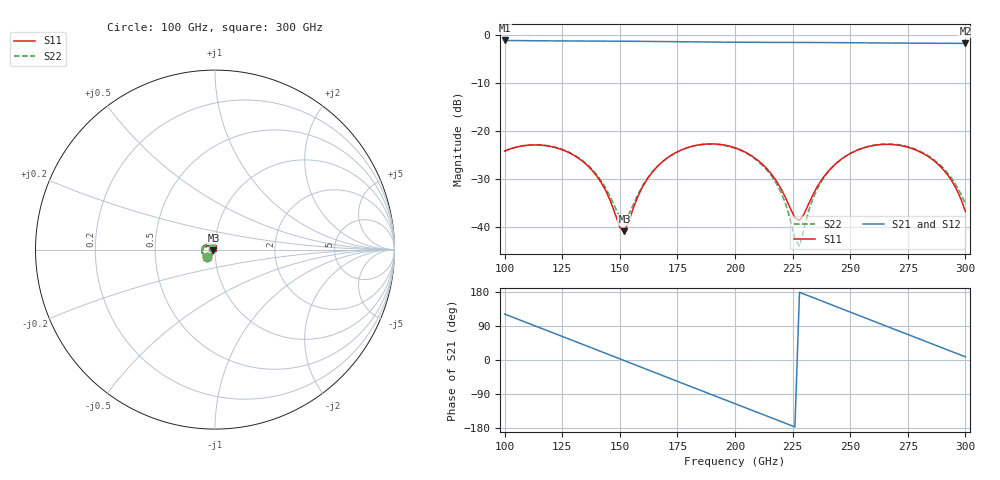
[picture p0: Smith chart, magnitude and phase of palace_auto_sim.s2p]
#  GHZ S DB R 50
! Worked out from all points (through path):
!   101 points, 100 GHz to 300 GHz, reference 50 ohm
!   highest |S21| = -1.04 dB at 100 GHz (marker M1); lowest = -1.7 dB at 300 GHz (marker M2)
!   group delay of S21, straight-line fit = 6.57 ps
!   lowest |S11| = -40.9 dB at 152 GHz (marker M3), VSWR 1.02, Z = 49.2 - j0.314 ohm
!   |S11| at or under -10 dB: start of sweep to end of sweep
!   |S22| runs from -44.0 to -22.7 dB; largest |S21 - S12| = 9.7e-14
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100  -24.15 -135.5  -1.04 121.2  -1.04 121.2  -24.15 -136.8
116  -22.92 -170.3  -1.11 83.4  -1.11 83.4  -22.88 -170.3
134  -26.35 152.8  -1.16 41.0  -1.16 41.0  -26.20 154.6
142  -30.79 141.8  -1.17 22.0  -1.17 22.0  -30.40 145.6
152  -40.94 -159.1  -1.20 -1.7  -1.20 -1.7  -38.57 -164.8
160  -31.52 -116.9  -1.23 -20.7  -1.23 -20.7  -31.31 -123.9
168  -26.60 -126.6  -1.26 -39.7  -1.26 -39.7  -26.58 -131.1
184  -22.88 -158.6  -1.34 -77.6  -1.34 -77.6  -22.91 -161.8
200  -23.47 167.8  -1.41 -115.3  -1.41 -115.3  -23.54 164.1
216  -29.07 141.4  -1.44 -153.0  -1.44 -153.0  -29.44 133.5
222  -33.95 144.0  -1.45 -167.1  -1.45 -167.1  -35.23 130.2
226  -38.08 168.0  -1.45 -176.6  -1.45 -176.6  -42.52 155.1
228  -38.67 -168.2  -1.46 178.7  -1.46 178.7  -44.02 -158.7
234  -33.10 -129.5  -1.47 164.4  -1.47 164.4  -33.87 -114.5
240  -28.63 -129.4  -1.48 150.2  -1.48 150.2  -28.79 -119.9
248  -25.24 -140.9  -1.51 131.2  -1.51 131.2  -25.24 -134.1
258  -23.20 -159.8  -1.54 107.5  -1.54 107.5  -23.15 -154.2
268  -22.78 179.9  -1.58 83.9  -1.58 83.9  -22.69 -174.8
278  -23.84 159.5  -1.61 60.3  -1.61 60.3  -23.71 165.3
288  -26.84 140.7  -1.63 36.7  -1.63 36.7  -26.60 148.1
294  -30.32 132.4  -1.64 22.5  -1.64 22.5  -29.84 142.1
300  -36.78 136.7  -1.65 8.3  -1.65 8.3  -35.10 151.0
